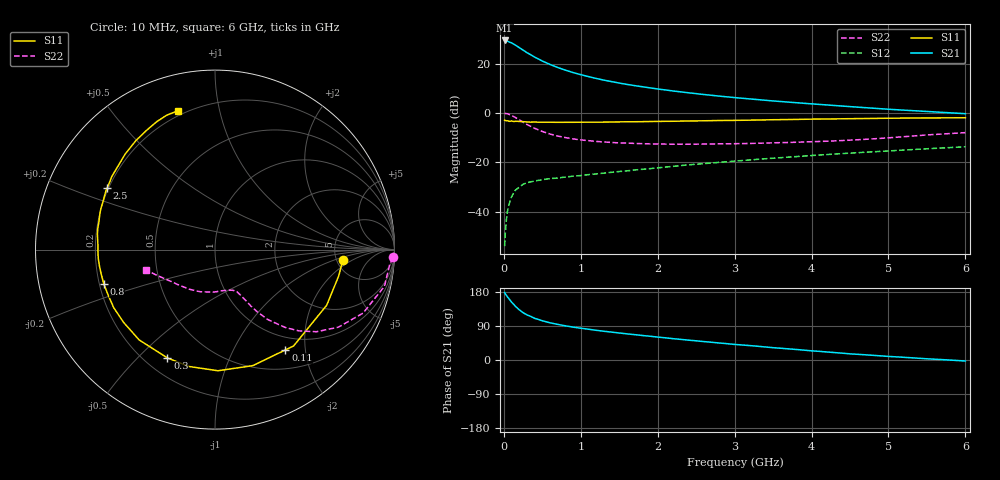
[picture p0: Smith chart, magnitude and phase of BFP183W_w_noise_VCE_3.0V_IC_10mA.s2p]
! Infineon Technologies  Discrete & RF Semiconductors
! BFP183W
! VCE =  3.0 V,  IC =  10 mA
! Common Emitter S-Parameters:  Jan 2017
# GHz  S  MA  R  50
!  f  S11  S21  S12  S22
! GHz  MAG  ANG  MAG  ANG  MAG  ANG  MAG  ANG
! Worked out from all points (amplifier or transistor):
!   77 points, 10 MHz to 6 GHz, reference 50 ohm
!   highest |S21| = 29.4 dB at 10 MHz (marker M1)
!   |S21| within 3 dB of that: start of sweep to 205.2 MHz
!   unconditionally stable (mu >= 1): 1.607 GHz to 3.971 GHz
!   at 130 MHz: K = 0.14, MSG = 30.1 dB, |S12| = -32.3 dB
!   at 2.2 GHz: K = 1.07, MAG = 13.7 dB, |S12| = -21.6 dB
!   at 6 GHz: K = 0.87, MSG = 6.7 dB, |S12| = -13.7 dB
!   lowest NFmin = 0.92 dB at 450 MHz
!   S11 on the Smith chart (normalised r, x): 10 MHz: 5.69, -1.33; 110 MHz: 0.78, -1.64; 300 MHz: 0.29, -0.61; 800 MHz: 0.22, -0.14; 2.5 GHz: 0.19, +0.26; 6 GHz: 0.17, +0.75
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0.01  0.7147 -4.6  29.52 178.1  0.002 80.9  0.9919 -2.5
0.02  0.7047 -12.0  29.33 174.2  0.0039 88.5  0.9766 -5.0
0.05  0.6952 -26.5  28.44 165.9  0.0108 77.3  0.966 -12.2
0.1  0.6928 -50.8  26.44 152.8  0.0199 68.8  0.8976 -23.2
0.11  0.6828 -54.9  25.84 150.8  0.0213 66.5  0.8787 -24.9
0.15  0.6799 -72.0  23.8 141.8  0.0273 59.6  0.8114 -32.2
0.2  0.6751 -88.6  21.15 132.5  0.0313 52.9  0.7272 -39.0
0.25  0.6672 -102.6  18.82 124.9  0.036 47.7  0.6506 -44.1
0.3  0.6591 -113.7  16.73 119.1  0.0385 44.1  0.5855 -47.9
0.4  0.6572 -130.0  13.59 110.0  0.0419 39.7  0.489 -52.9
0.5  0.651 -141.6  11.3 103.5  0.0444 37.7  0.4224 -55.7
0.6  0.6505 -150.3  9.639 98.2  0.0468 37.3  0.3748 -57.5
0.8  0.6485 -162.9  7.398 90.1  0.0503 38.0  0.3174 -59.4
0.9  0.6484 -167.7  6.598 86.8  0.0525 38.4  0.2989 -60.3
1.1  0.6521 -175.5  5.462 81.2  0.0564 40.4  0.275 -61.7
1.5  0.6607 172.5  4.041 71.3  0.0652 44.2  0.2478 -66.3
2.1  0.6774 158.1  2.93 58.5  0.0801 47.4  0.2342 -76.7
2.5  0.6919 150.2  2.467 50.6  0.0915 48.6  0.2337 -85.9
3.1  0.7122 139.7  1.989 39.6  0.1089 48.6  0.2398 -100.2
4.1  0.7529 124.7  1.493 22.8  0.1405 46.4  0.2647 -125.0
5.1  0.7855 113.5  1.166 8.3  0.1738 42.2  0.3222 -149.6
6  0.8003 105.1  0.968 -2.7  0.2066 37.1  0.4001 -163.7
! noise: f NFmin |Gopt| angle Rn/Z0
0.45  0.92  0.1  112  0.11
0.9  0.97  0.18  144  0.09
1.9  1.47  0.37  -176  0.07
2.4  1.72  0.44  -167  0.09
